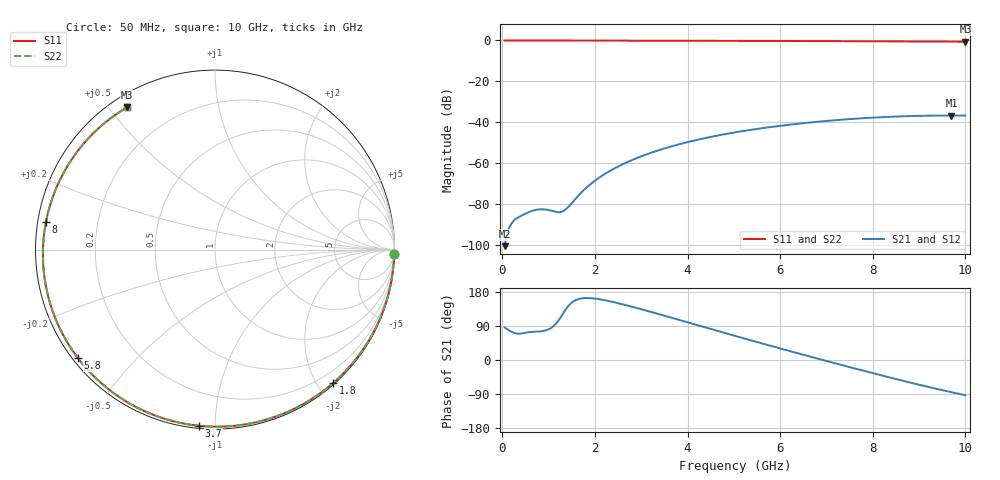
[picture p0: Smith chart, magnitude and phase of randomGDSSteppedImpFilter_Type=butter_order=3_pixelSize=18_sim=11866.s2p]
! freq	dB(S11)	phase(S11)	dB(S12)	phase(S12)
!  dB(S21)	phase(S21)	dB(S22)	phase(S22)
!S-par simulation data
#  GHz  S  DB  R 50
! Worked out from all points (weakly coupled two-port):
!   200 points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, 50 MHz to 10 GHz, reference 50 ohm
!   highest |S21| = -36.74 dB at 9.7 GHz (marker M1); lowest = -100.7 dB at 50 MHz (marker M2)
!   lowest |S11| = -0.6 dB at 10 GHz (marker M3), VSWR 28.36, Z = 2.31 + j27.8 ohm
!   |S11| at or under -10 dB: nowhere
!   |S22| runs from -0.6 to 0.0 dB; largest |S21 - S12| = 0
!   S11 on the Smith chart (normalised r, x): 50 MHz: 2, -86; 1.8 GHz: 0.02, -2.22; 3.7 GHz: 0.01, -0.91; 5.8 GHz: 0.01, -0.35; 8 GHz: 0.02, +0.08; 10 GHz: 0.05, +0.56
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0.05  -0.01 -1.3  -100.67 85.9  -100.67 85.9  -0.01 -1.3
0.4  -0.02 -11.0  -85.91 69.9  -85.91 69.9  -0.02 -11.0
0.75  -0.03 -20.6  -82.80 74.9  -82.80 74.9  -0.03 -20.6
1.45  -0.05 -39.4  -80.86 145.8  -80.86 145.8  -0.05 -39.4
1.5  -0.05 -40.7  -79.58 151.5  -79.58 151.5  -0.05 -40.7
1.75  -0.06 -47.3  -73.46 163.1  -73.46 163.1  -0.06 -47.3
1.8  -0.06 -48.6  -72.39 163.5  -72.39 163.5  -0.06 -48.6
2.1  -0.07 -56.3  -67.02 160.3  -67.02 160.3  -0.07 -56.3
2.45  -0.08 -65.2  -62.27 151.4  -62.27 151.4  -0.08 -65.2
2.9  -0.10 -76.3  -57.59 137.3  -57.59 137.3  -0.10 -76.3
3.4  -0.11 -88.3  -53.56 120.3  -53.56 120.3  -0.11 -88.2
3.7  -0.12 -95.3  -51.54 109.9  -51.54 109.9  -0.12 -95.3
4.35  -0.15 -110.1  -47.93 87.2  -47.93 87.2  -0.15 -110.1
5.05  -0.19 -125.5  -44.89 62.8  -44.89 62.8  -0.19 -125.5
5.8  -0.23 -141.7  -42.35 37.2  -42.35 37.2  -0.23 -141.7
6.7  -0.29 -160.9  -40.02 7.2  -40.02 7.2  -0.29 -160.9
7.35  -0.35 -175.0  -38.73 -14.0  -38.73 -14.0  -0.35 -175.0
8  -0.41 170.6  -37.76 -34.7  -37.76 -34.7  -0.41 170.6
8.35  -0.44 162.6  -37.38 -45.6  -37.38 -45.6  -0.44 162.6
9  -0.51 147.2  -36.91 -65.3  -36.91 -65.3  -0.51 147.2
9.7  -0.58 129.6  -36.74 -85.0  -36.74 -85.0  -0.58 129.6
10  -0.61 121.7  -36.77 -92.9  -36.77 -92.9  -0.61 121.7
